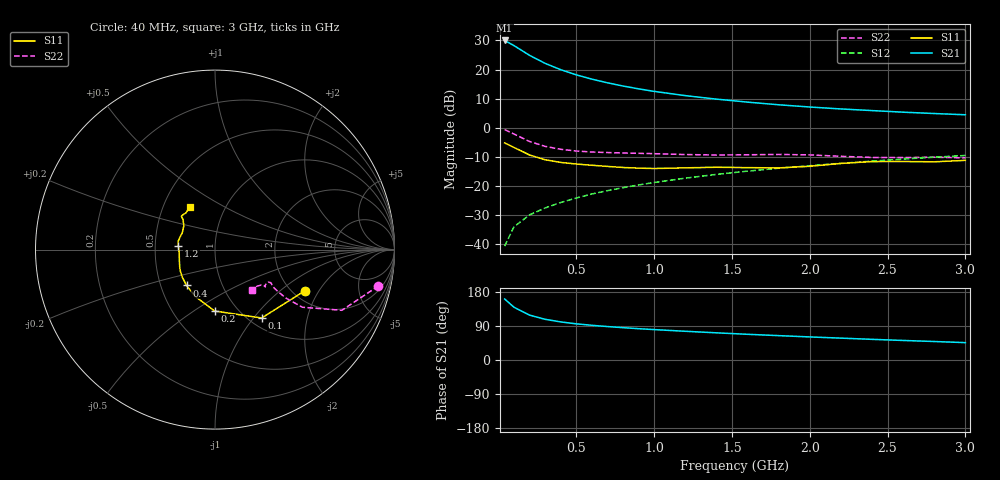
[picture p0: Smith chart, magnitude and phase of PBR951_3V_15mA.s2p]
! Filename:  PBR951F.S2P  Version:  3.0
! Philips part #:  PBR951  Date: July 1998
! Bias condition:  Vce=3V, Ic=15mA
#  MHz  S  MA  R 50
! Freq  S11  S21  S12  S22
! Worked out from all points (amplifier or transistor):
!   21 points, 40 MHz to 3 GHz, reference 50 ohm
!   highest |S21| = 30.0 dB at 40 MHz (marker M1)
!   |S21| within 3 dB of that: start of sweep to 137.1 MHz
!   unconditionally stable (mu >= 1): 740.7 MHz to 2.209 GHz
!   at 300 MHz: K = 0.82, MSG = 24.8 dB, |S12| = -27.5 dB
!   at 1 GHz: K = 1.03, MAG = 14.6 dB, |S12| = -18.8 dB
!   at 3 GHz: K = 0.96, MSG = 7.0 dB, |S12| = -9.5 dB
!   S11 on the Smith chart (normalised r, x): 40 MHz: 2.31, -1.52; 100 MHz: 1.14, -1.10; 200 MHz: 0.79, -0.61; 400 MHz: 0.68, -0.29; 1.2 GHz: 0.66, +0.03; 3 GHz: 0.68, +0.35
40  0.5505 -24.6  31.64 161.1  0.009297 80.2  0.9331 -12.5
100  0.4613 -55.7  25.83 139.3  0.01997 71.4  0.7837 -25.6
200  0.3421 -90.4  17.58 118.4  0.03203 67.8  0.5833 -33.4
300  0.2833 -112.9  12.81 107.4  0.04207 69.2  0.4807 -34.3
400  0.255 -128.4  9.972 100.5  0.05226 70.9  0.4284 -33.8
500  0.2391 -139.4  8.131 95.4  0.06236 72.6  0.4001 -33.2
600  0.2279 -147.7  6.86 91.6  0.07306 73.5  0.3846 -32.7
700  0.2178 -154.9  5.936 88.2  0.08338 74.2  0.3762 -32.0
800  0.2086 -161.7  5.226 85.4  0.09379 74.9  0.3706 -31.5
900  0.2034 -168.1  4.676 82.7  0.1046 75.2  0.3651 -31.0
1000  0.2001 -174.6  4.229 80.2  0.1151 75.3  0.36 -30.7
1200  0.2056 174.5  3.574 75.8  0.1368 75.1  0.3479 -31.5
1400  0.2106 167.6  3.112 71.7  0.1587 74.7  0.3415 -33.7
1600  0.2074 161.8  2.764 67.8  0.1804 74.2  0.3446 -35.9
1800  0.2051 152.8  2.488 64.3  0.2024 73.5  0.3496 -36.5
2000  0.2186 142.5  2.277 60.9  0.2236 72.5  0.343 -36.3
2200  0.2446 136.7  2.11 57.7  0.2461 71.4  0.3247 -37.4
2400  0.2636 135.2  1.978 54.5  0.2681 70.4  0.31 -41.3
2600  0.2646 134.0  1.857 51.6  0.2908 69.3  0.3086 -46.1
2800  0.261 128.2  1.761 48.8  0.3134 68.0  0.313 -48.3
3000  0.2765 120.5  1.675 45.8  0.3355 66.6  0.3051 -47.7
